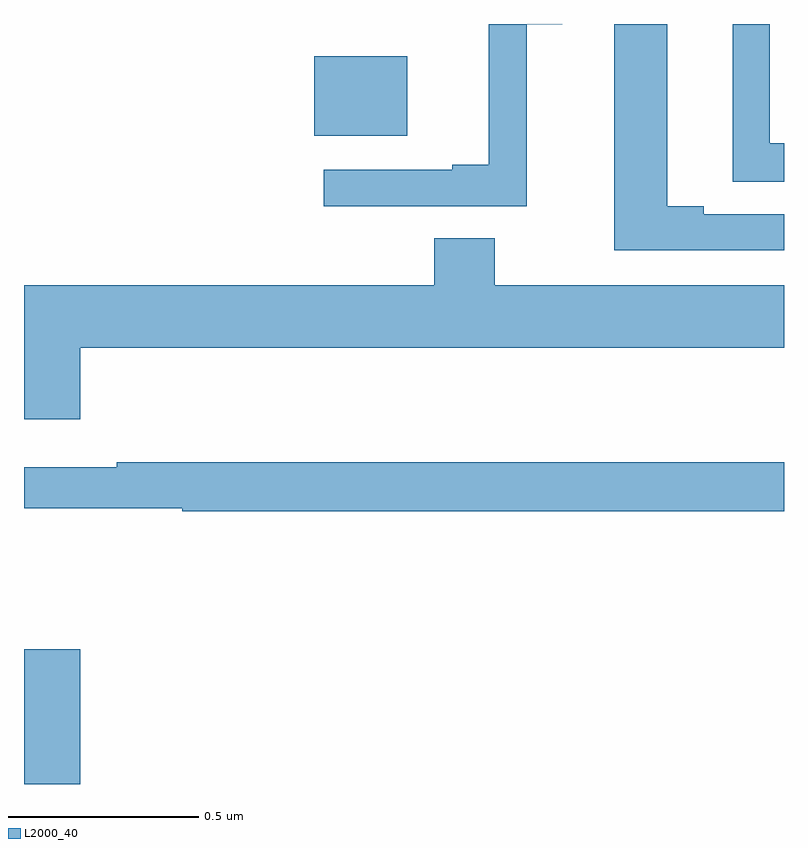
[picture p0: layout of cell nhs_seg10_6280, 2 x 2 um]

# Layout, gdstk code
import gdstk
lib = gdstk.Library(unit=1e-6, precision=1e-09)
def R(c, l, rs):  # rectangles x0, y0, x1, y1
    for r in rs: c.add(gdstk.rectangle(r[:2], r[2:], *l))
def P(c, l, *ps):  # polygons
    for p in ps: c.add(gdstk.Polygon(p, *l))
L2000_40 = (2000, 40)

nhs_seg10_6280 = lib.new_cell('nhs_seg10_6280')
R(nhs_seg10_6280, L2000_40, [(189,1300.5,189.148,1300.855), (189.764,1302.206,190.009,1302.415)])
P(nhs_seg10_6280, L2000_40, [(191,1302),(190.789,1302),(190.789,1302.02),(190.693,1302.02),(190.693,1302.5),(190.553,1302.5),(190.553,1301.904),(191,1301.904)],
  [(190.323,1302.499),(190.417,1302.499),(190.417,1302.5),(190.223,1302.5),(190.223,1302.13),(190.127,1302.13),(190.127,1302.117),(189.789,1302.117),(189.789,1302.021),(190.323,1302.021)],
  [(191,1302.186),(190.962,1302.186),(190.962,1302.5),(190.865,1302.5),(190.865,1302.085),(191,1302.085)],
  [(189.148,1301.648),(191,1301.648),(191,1301.812),(190.239,1301.812),(190.239,1301.936),(190.079,1301.936),(190.079,1301.812),(189,1301.812),(189,1301.46),(189.148,1301.46)],
  [(191,1301.347),(189.244,1301.347),(189.244,1301.334),(189,1301.334),(189,1301.226),(189.416,1301.226),(189.416,1301.218),(191,1301.218)])

lib.write_gds('nhs_seg10_6280.gds')
